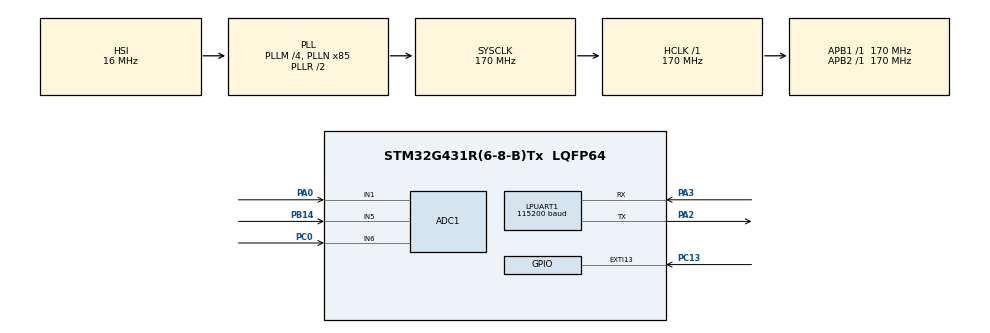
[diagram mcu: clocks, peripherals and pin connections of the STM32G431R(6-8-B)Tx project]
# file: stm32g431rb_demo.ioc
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ADC1.Channel-0\#ChannelRegularConversion=ADC_CHANNEL_1
ADC1.Channel-1\#ChannelRegularConversion=ADC_CHANNEL_5
ADC1.Channel-2\#ChannelRegularConversion=ADC_CHANNEL_6
ADC1.EOCSelection=ADC_EOC_SINGLE_CONV
ADC1.LowPowerAutoWait=ENABLE
ADC1.NbrOfConversion=3
ADC1.NbrOfConversionFlag=1
ADC1.OffsetNumber-0\#ChannelRegularConversion=ADC_OFFSET_NONE
ADC1.OffsetNumber-1\#ChannelRegularConversion=ADC_OFFSET_NONE
ADC1.OffsetNumber-2\#ChannelRegularConversion=ADC_OFFSET_NONE
ADC1.Overrun=ADC_OVR_DATA_PRESERVED
ADC1.Rank-0\#ChannelRegularConversion=1
ADC1.Rank-1\#ChannelRegularConversion=2
ADC1.Rank-2\#ChannelRegularConversion=3
ADC1.SamplingTime-0\#ChannelRegularConversion=ADC_SAMPLETIME_2CYCLES_5
ADC1.SamplingTime-1\#ChannelRegularConversion=ADC_SAMPLETIME_2CYCLES_5
ADC1.SamplingTime-2\#ChannelRegularConversion=ADC_SAMPLETIME_2CYCLES_5
ADC1.master=1
LPUART1.BaudRate=115200
Mcu.Family=STM32G4
Mcu.Name=STM32G431R(6-8-B)Tx
Mcu.Package=LQFP64
NVIC.ADC1_2_IRQn=true\:0\:0\:false\:false\:true\:true\:true\:true
NVIC.EXTI15_10_IRQn=true\:0\:0\:false\:false\:true\:true\:true\:true
NVIC.PriorityGroup=NVIC_PRIORITYGROUP_4
PA0.Mode=IN1-Single-Ended
PA0.Signal=ADC1_IN1
PA2.Mode=Asynchronous
PA2.Signal=LPUART1_TX
PA3.Mode=Asynchronous
PA3.Signal=LPUART1_RX
PB14.Mode=IN5-Single-Ended
PB14.Signal=ADC1_IN5
PC0.Mode=IN6-Single-Ended
PC0.Signal=ADC1_IN6
PC13.Signal=GPXTI13
ProjectManager.HeapSize=0x200
ProjectManager.StackSize=0x400
ProjectManager.TargetToolchain=STM32CubeIDE
RCC.ADC12Freq_Value=170000000
RCC.AHBFreq_Value=170000000
RCC.APB1Freq_Value=170000000
RCC.APB1TimFreq_Value=170000000
RCC.APB2Freq_Value=170000000
RCC.APB2TimFreq_Value=170000000
RCC.CortexFreq_Value=170000000
RCC.EXTERNAL_CLOCK_VALUE=12288000
RCC.HCLKFreq_Value=170000000
RCC.HSE_VALUE=8000000
RCC.HSI48_VALUE=48000000
RCC.HSI_VALUE=16000000
RCC.LSE_VALUE=32768
RCC.PLLM=RCC_PLLM_DIV4
RCC.PLLN=85
RCC.PWR_Regulator_Voltage_Scale=PWR_REGULATOR_VOLTAGE_SCALE1_BOOST
RCC.SYSCLKFreq_VALUE=170000000
RCC.SYSCLKSource=RCC_SYSCLKSOURCE_PLLCLK
RCC.USBFreq_Value=170000000
RCC.VCOOutputFreq_Value=340000000
VP_SYS_VS_DBSignals.Mode=DisableDeadBatterySignals
board=custom

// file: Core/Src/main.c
/* USER CODE BEGIN Header */
/**
  ******************************************************************************
  * @file           : main.c
  * @brief          : Main program body
  ******************************************************************************
  * @attention
  *
  * Copyright (c) 2023 STMicroelectronics.
  * All rights reserved.
  *
  * This software is licensed under terms that can be found in the LICENSE file
  * in the root directory of this software component.
  * If no LICENSE file comes with this software, it is provided AS-IS.
  *
  ******************************************************************************
  */
/* USER CODE END Header */
#include "main.h"

/* USER CODE BEGIN Includes */
#include <stdio.h>
/* USER CODE END Includes */

ADC_HandleTypeDef hadc1;

UART_HandleTypeDef hlpuart1;

void SystemClock_Config(void);
static void MX_GPIO_Init(void);
static void MX_LPUART1_UART_Init(void);
static void MX_ADC1_Init(void);

/* USER CODE BEGIN 0 */
int _write(int file, char *ptr, int len)
{
  HAL_UART_Transmit(&hlpuart1, (uint8_t *)ptr, len, HAL_MAX_DELAY);
  return len;
}

uint16_t adc_channel_1;
uint16_t adc_channel_5;
uint16_t adc_channel_6;

/* USER CODE END 0 */

int main(void)
{

  /* MCU Configuration--------------------------------------------------------*/

  /* Reset of all peripherals, Initializes the Flash interface and the Systick. */
  HAL_Init();

  /* Configure the system clock */
  SystemClock_Config();

  /* Initialize all configured peripherals */
  MX_GPIO_Init();
  MX_LPUART1_UART_Init();
  MX_ADC1_Init();
  /* USER CODE BEGIN 2 */
  printf("Hello world!\r\n");
  /* USER CODE END 2 */

  /* Infinite loop */
  /* USER CODE BEGIN WHILE */
  if (HAL_ADCEx_Calibration_Start(&hadc1, ADC_SINGLE_ENDED) != HAL_OK)
  {
    Error_Handler();
  }

  __HAL_ADC_ENABLE_IT(&hadc1, ADC_IT_OVR);

  while (1)
  {
    if(HAL_ADC_Start(&hadc1) != HAL_OK)
    {
      Error_Handler();
    }

#if 0
    while(!__HAL_ADC_GET_FLAG(&hadc1, ADC_FLAG_EOC))
    {
    }
    adc_channel_1 = HAL_ADC_GetValue(&hadc1);

    while(!__HAL_ADC_GET_FLAG(&hadc1, ADC_FLAG_EOC))
    {
    }
    adc_channel_5 = HAL_ADC_GetValue(&hadc1);

    while(!__HAL_ADC_GET_FLAG(&hadc1, ADC_FLAG_EOC))
    {
    }
    adc_channel_6 = HAL_ADC_GetValue(&hadc1);
#else
    if(HAL_ADC_PollForConversion(&hadc1, 100) == HAL_OK)
    {
      adc_channel_1 = HAL_ADC_GetValue(&hadc1);
    }
    else
    {
      Error_Handler();
    }

    if(HAL_ADC_PollForConversion(&hadc1, 100) == HAL_OK)
    {
      adc_channel_5 = HAL_ADC_GetValue(&hadc1);
    }
    else
    {
      Error_Handler();
    }

    if(HAL_ADC_PollForConversion(&hadc1, 100) == HAL_OK)
    {
      adc_channel_6 = HAL_ADC_GetValue(&hadc1);
    }
    else
    {
      Error_Handler();
    }
#endif

    printf("ADC 0x%0x4 0x%0x4 0x%0x4 \r\n", (int)adc_channel_1, (int)adc_channel_5, (int)adc_channel_6);

    HAL_Delay(1000);
    /* USER CODE END WHILE */

  }
}

void SystemClock_Config(void)
{
  RCC_OscInitTypeDef RCC_OscInitStruct = {0};
  RCC_ClkInitTypeDef RCC_ClkInitStruct = {0};

  /** Configure the main internal regulator output voltage
  */
  HAL_PWREx_ControlVoltageScaling(PWR_REGULATOR_VOLTAGE_SCALE1_BOOST);

  /** Initializes the RCC Oscillators according to the specified parameters
  * in the RCC_OscInitTypeDef structure.
  */
  RCC_OscInitStruct.OscillatorType = RCC_OSCILLATORTYPE_HSI;
  RCC_OscInitStruct.HSIState = RCC_HSI_ON;
  RCC_OscInitStruct.HSICalibrationValue = RCC_HSICALIBRATION_DEFAULT;
  RCC_OscInitStruct.PLL.PLLState = RCC_PLL_ON;
  RCC_OscInitStruct.PLL.PLLSource = RCC_PLLSOURCE_HSI;
  RCC_OscInitStruct.PLL.PLLM = RCC_PLLM_DIV4;
  RCC_OscInitStruct.PLL.PLLN = 85;
  RCC_OscInitStruct.PLL.PLLP = RCC_PLLP_DIV2;
  RCC_OscInitStruct.PLL.PLLQ = RCC_PLLQ_DIV2;
  RCC_OscInitStruct.PLL.PLLR = RCC_PLLR_DIV2;
  if (HAL_RCC_OscConfig(&RCC_OscInitStruct) != HAL_OK)
  {
    Error_Handler();
  }

  /** Initializes the CPU, AHB and APB buses clocks
  */
  RCC_ClkInitStruct.ClockType = RCC_CLOCKTYPE_HCLK|RCC_CLOCKTYPE_SYSCLK
                              |RCC_CLOCKTYPE_PCLK1|RCC_CLOCKTYPE_PCLK2;
  RCC_ClkInitStruct.SYSCLKSource = RCC_SYSCLKSOURCE_PLLCLK;
  RCC_ClkInitStruct.AHBCLKDivider = RCC_SYSCLK_DIV1;
  RCC_ClkInitStruct.APB1CLKDivider = RCC_HCLK_DIV1;
  RCC_ClkInitStruct.APB2CLKDivider = RCC_HCLK_DIV1;

  if (HAL_RCC_ClockConfig(&RCC_ClkInitStruct, FLASH_LATENCY_4) != HAL_OK)
  {
    Error_Handler();
  }
}

static void MX_ADC1_Init(void)
{

  ADC_MultiModeTypeDef multimode = {0};
  ADC_ChannelConfTypeDef sConfig = {0};

  /** Common config
  */
  hadc1.Instance = ADC1;
  hadc1.Init.ClockPrescaler = ADC_CLOCK_SYNC_PCLK_DIV4;
  hadc1.Init.Resolution = ADC_RESOLUTION_12B;
  hadc1.Init.DataAlign = ADC_DATAALIGN_RIGHT;
  hadc1.Init.GainCompensation = 0;
  hadc1.Init.ScanConvMode = ADC_SCAN_ENABLE;
  hadc1.Init.EOCSelection = ADC_EOC_SINGLE_CONV;
  hadc1.Init.LowPowerAutoWait = ENABLE;
  hadc1.Init.ContinuousConvMode = DISABLE;
  hadc1.Init.NbrOfConversion = 3;
  hadc1.Init.DiscontinuousConvMode = DISABLE;
  hadc1.Init.ExternalTrigConv = ADC_SOFTWARE_START;
  hadc1.Init.ExternalTrigConvEdge = ADC_EXTERNALTRIGCONVEDGE_NONE;
  hadc1.Init.DMAContinuousRequests = DISABLE;
  hadc1.Init.Overrun = ADC_OVR_DATA_PRESERVED;
  hadc1.Init.OversamplingMode = DISABLE;
  if (HAL_ADC_Init(&hadc1) != HAL_OK)
  {
    Error_Handler();
  }

  /** Configure the ADC multi-mode
  */
  multimode.Mode = ADC_MODE_INDEPENDENT;
  if (HAL_ADCEx_MultiModeConfigChannel(&hadc1, &multimode) != HAL_OK)
  {
    Error_Handler();
  }

  /** Configure Regular Channel
  */
  sConfig.Channel = ADC_CHANNEL_1;
  sConfig.Rank = ADC_REGULAR_RANK_1;
  sConfig.SamplingTime = ADC_SAMPLETIME_2CYCLES_5;
  sConfig.SingleDiff = ADC_SINGLE_ENDED;
  sConfig.OffsetNumber = ADC_OFFSET_NONE;
  sConfig.Offset = 0;
  if (HAL_ADC_ConfigChannel(&hadc1, &sConfig) != HAL_OK)
  {
    Error_Handler();
  }

  /** Configure Regular Channel
  */
  sConfig.Channel = ADC_CHANNEL_5;
  sConfig.Rank = ADC_REGULAR_RANK_2;
  if (HAL_ADC_ConfigChannel(&hadc1, &sConfig) != HAL_OK)
  {
    Error_Handler();
  }

  /** Configure Regular Channel
  */
  sConfig.Channel = ADC_CHANNEL_6;
  sConfig.Rank = ADC_REGULAR_RANK_3;
  if (HAL_ADC_ConfigChannel(&hadc1, &sConfig) != HAL_OK)
  {
    Error_Handler();
  }

}

static void MX_LPUART1_UART_Init(void)
{

  hlpuart1.Instance = LPUART1;
  hlpuart1.Init.BaudRate = 115200;
  hlpuart1.Init.WordLength = UART_WORDLENGTH_8B;
  hlpuart1.Init.StopBits = UART_STOPBITS_1;
  hlpuart1.Init.Parity = UART_PARITY_NONE;
  hlpuart1.Init.Mode = UART_MODE_TX_RX;
  hlpuart1.Init.HwFlowCtl = UART_HWCONTROL_NONE;
  hlpuart1.Init.OneBitSampling = UART_ONE_BIT_SAMPLE_DISABLE;
  hlpuart1.Init.ClockPrescaler = UART_PRESCALER_DIV1;
  hlpuart1.AdvancedInit.AdvFeatureInit = UART_ADVFEATURE_NO_INIT;
  if (HAL_UART_Init(&hlpuart1) != HAL_OK)
  {
    Error_Handler();
  }
  if (HAL_UARTEx_SetTxFifoThreshold(&hlpuart1, UART_TXFIFO_THRESHOLD_1_8) != HAL_OK)
  {
    Error_Handler();
  }
  if (HAL_UARTEx_SetRxFifoThreshold(&hlpuart1, UART_RXFIFO_THRESHOLD_1_8) != HAL_OK)
  {
    Error_Handler();
  }
  if (HAL_UARTEx_DisableFifoMode(&hlpuart1) != HAL_OK)
  {
    Error_Handler();
  }

}

static void MX_GPIO_Init(void)
{
  GPIO_InitTypeDef GPIO_InitStruct = {0};

  /* GPIO Ports Clock Enable */
  __HAL_RCC_GPIOC_CLK_ENABLE();
  __HAL_RCC_GPIOA_CLK_ENABLE();
  __HAL_RCC_GPIOB_CLK_ENABLE();

  /*Configure GPIO pin : PC13 */
  GPIO_InitStruct.Pin = GPIO_PIN_13;
  GPIO_InitStruct.Mode = GPIO_MODE_IT_RISING;
  GPIO_InitStruct.Pull = GPIO_NOPULL;
  HAL_GPIO_Init(GPIOC, &GPIO_InitStruct);

  /* EXTI interrupt init*/
  HAL_NVIC_SetPriority(EXTI15_10_IRQn, 0, 0);
  HAL_NVIC_EnableIRQ(EXTI15_10_IRQn);

}

/* USER CODE BEGIN 4 */
void HAL_GPIO_EXTI_Callback(uint16_t GPIO_Pin)
{
  printf("user button pushed!\r\n");
}

void HAL_ADC_ErrorCallback(ADC_HandleTypeDef *hadc)
{
  printf("ADC Error Callback\r\n");
}
/* USER CODE END 4 */

void Error_Handler(void)
{
  /* USER CODE BEGIN Error_Handler_Debug */
  printf("Error!!\r\n");
  /* User can add his own implementation to report the HAL error return state */
  __disable_irq();
  while (1)
  {
  }
  /* USER CODE END Error_Handler_Debug */
}
